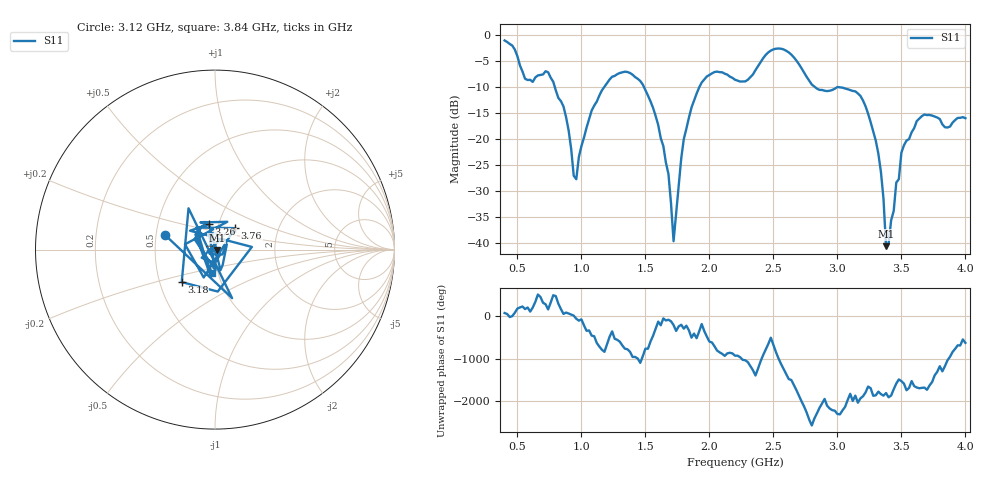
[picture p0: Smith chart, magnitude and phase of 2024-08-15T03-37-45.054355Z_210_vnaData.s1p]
!Created with skrf (http://scikit-rf.org).
# Hz S RI R 50.0
!freq ReS11 ImS11
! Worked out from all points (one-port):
!   181 points, 400 MHz to 4 GHz, reference 50 ohm
!   lowest |S11| = -40.6 dB at 3.38 GHz (marker M1), VSWR 1.02, Z = 50.9 - j0.174 ohm
!   |S11| at or under -10 dB: 792 MHz to 1.179 GHz (387.4 MHz wide, 39.3 % of centre); 1.488 GHz to 1.922 GHz (433.7 MHz wide, 25.4 % of centre); 2.823 GHz to end of sweep
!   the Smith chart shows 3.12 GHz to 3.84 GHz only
!   S11 on the Smith chart (normalised r, x): 3.12 GHz: 0.56, +0.10; 3.18 GHz: 0.65, -0.25; 3.26 GHz: 0.90, +0.26; 3.76 GHz: 1.21, +0.30; 3.84 GHz: 0.93, -0.24
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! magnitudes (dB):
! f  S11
! 400 MHz  -1.1
! 560 MHz  -8.4
! 740 MHz  -7.2
! 860 MHz  -13.8
! 960 MHz  -27.8
! 1.08 GHz  -14.5
! 1.3 GHz  -7.3
! 1.56 GHz  -14.0
! 1.68 GHz  -26.7
! 1.72 GHz  -39.7
! 1.76 GHz  -28.8
! 1.8 GHz  -20.0
! 1.94 GHz  -9.1
! 2.2 GHz  -8.6
! 2.5 GHz  -2.8
! 2.66 GHz  -4.3
! 2.84 GHz  -10.3
! 3.1 GHz  -10.6
! 3.12 GHz  -10.8
! 3.18 GHz  -11.7
! 3.26 GHz  -16.8
! 3.34 GHz  -26.3
! 3.38 GHz  -40.6
! 3.5 GHz  -22.6
! 3.56 GHz  -20.0
! 3.76 GHz  -15.7
! 3.84 GHz  -17.8
! 4 GHz  -16.0
